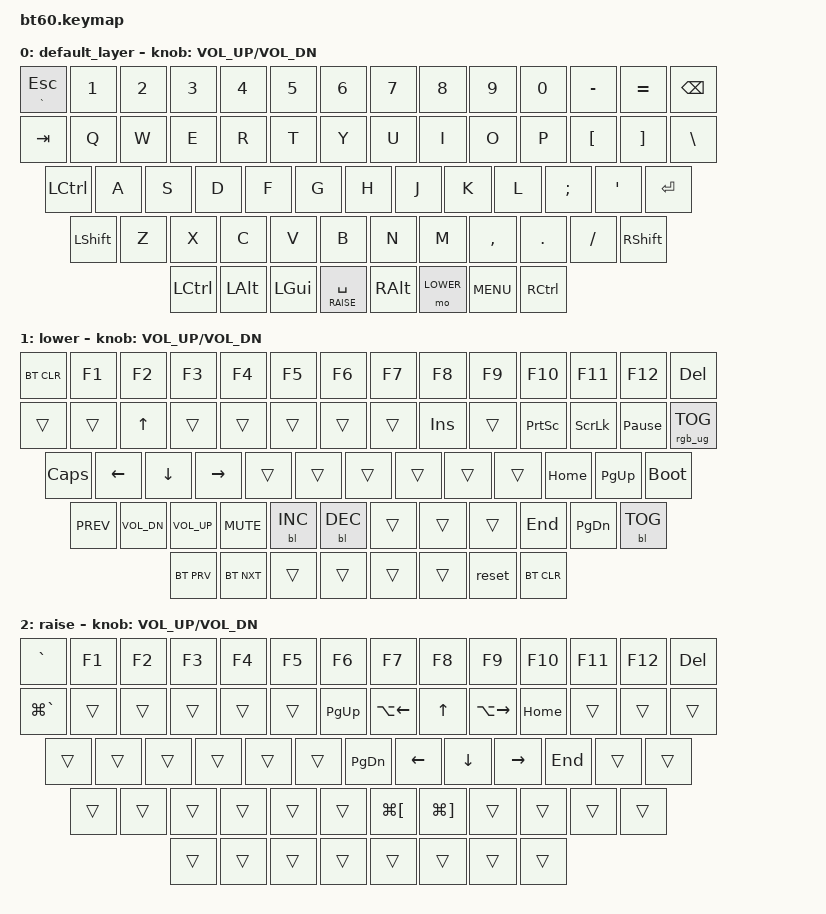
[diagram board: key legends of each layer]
#include <behaviors.dtsi>
#include <dt-bindings/zmk/keys.h>
#include <dt-bindings/zmk/bt.h>
#include <dt-bindings/zmk/rgb.h>
#include <dt-bindings/zmk/backlight.h>

#define BASE 0
#define LOWER 1
#define RAISE 2

/ {
	keymap {
		compatible = "zmk,keymap";

		default_layer {
				// ------------------------------------------------------------------------------------------
				// |  `  |  1  |  2  |  3  |  4  |  5  |  6  |  7  |  8  |  9  |  0  |  -  |  =  |   BKSP
				// | TAB  |  Q  |  W  |  E  |  R  |  T  |  Y  |  U  |  I  |  O  |  P  |  [  |  ]  |   |
				// | CAPS  |  A  |  S  |  D  |  F  |  G  |  H  |  J  |  K  |  L  |  ;  |  '  |     ENTER
				// |  SHIFT    |  Z  |  X  |  C  |  V  |  B  |  N  |  M  |  ,  |  .  | /   |      SHIFT
				// |  CTL  |  WIN  |  ALT  |            SPACE               | ALT | 1    |  MENU    |  CTRL
				// ------------------------------------------------------------------------------------------
			bindings = <

				&mt GRAVE ESC &kp N1 &kp N2 &kp N3 &kp N4 &kp N5 &kp N6 &kp N7 &kp  N8   &kp  N9 &kp  N0  &kp MINUS &kp EQUAL &kp BSPC
				&kp TAB  &kp Q  &kp W  &kp E  &kp R  &kp T  &kp Y  &kp U  &kp  I    &kp  O  &kp  P   &kp LBKT &kp RBKT   &kp BSLH
				&kp LCTRL &kp A  &kp S  &kp D  &kp F  &kp G  &kp H  &kp J  &kp  K    &kp  L  &kp SEMI &kp SQT            &kp RET
				&kp LSHFT  &kp Z  &kp X  &kp C  &kp V  &kp B  &kp N  &kp M  &kp COMMA &kp DOT &kp FSLH                   &kp RSHFT
				&kp LCTRL &kp LALT &kp LGUI            &lt RAISE SPACE                       &kp RALT  &mo LOWER &kp C_MENU    &kp RCTRL
			>;
			sensor-bindings = <&inc_dec_kp C_VOL_UP C_VOL_DN>;
		}; 
		lower {
			bindings = <
				&bt BT_CLR &kp F1 &kp F2 &kp F3 &kp F4 &kp F5 &kp F6 &kp F7 &kp F8 &kp F9 &kp F10 &kp F11 &kp F12 &kp DEL
				&trans &trans &kp UP &trans &trans &trans &trans &trans &kp INS &trans &kp PSCRN &kp SLCK &kp PAUSE_BREAK &rgb_ug RGB_TOG
				&kp CAPS    &kp LEFT &kp DOWN &kp RIGHT &trans &trans &trans &trans &trans &trans &kp HOME  &kp PG_UP   &bootloader
				&kp C_PREV &kp C_VOL_DN &kp C_VOL_UP &kp C_MUTE &bl BL_INC &bl BL_DEC &trans &trans &trans &kp END &kp PG_DN  &bl BL_TOG
				&bt BT_PRV &bt BT_NXT  &trans              &trans                            &trans   &trans   &reset &bt BT_CLR
			>;
			sensor-bindings = <&inc_dec_kp C_VOL_UP C_VOL_DN>;
		};
		raise {
			bindings = <
				&kp GRAVE &kp F1 &kp F2 &kp F3 &kp F4 &kp F5 &kp F6 &kp F7 &kp F8 &kp F9 &kp F10 &kp F11 &kp F12 &kp DEL
				&kp LG(GRAVE) &trans &trans &trans &trans &trans &kp PG_UP &kp LA(LEFT) &kp UP &kp LA(RIGHT) &kp HOME &trans &trans &trans
				&trans  &trans &trans &trans &trans &trans &kp PG_DN &kp LEFT &kp DOWN &kp RIGHT &kp END &trans       &trans
				&trans    &trans &trans &trans &trans &trans &kp LG(LBKT) &kp LG(RBKT) &trans  &trans   &trans         &trans
				&trans  &trans  &trans              &trans               &trans   &trans   &trans  &trans
			>;
			sensor-bindings = <&inc_dec_kp C_VOL_UP C_VOL_DN>;
		};
	};
};
